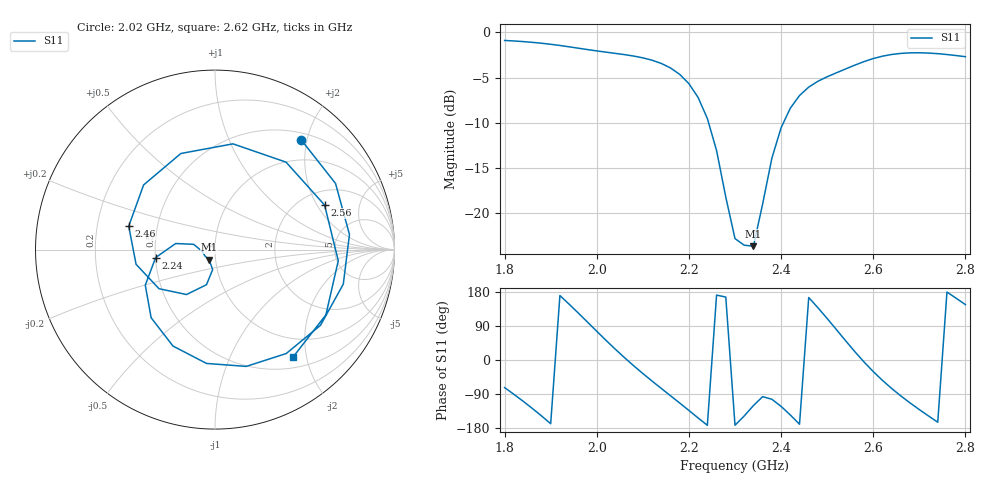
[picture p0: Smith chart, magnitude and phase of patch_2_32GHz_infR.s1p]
! Touchstone file exported from HFSS 2024.1.0
!  File:  /home/ubuntu/Ansoft/repo/patch_2_32GHz/sim_2_32GHz_3.aedt
!  Generated:  08:28:34 AM Nov 11, 2024
!  Design:  HFSSDesign1
!  Project:  sim_2_32GHz_3
!  Setup:  Setup1
!  Solution:  Sweep
! Variables:
!  R0 = 1000000ohm
!  pad = 45mm
# GHz S MA R 50.000000
! Terminal data exported
! Port[1] = u141_0711_201_1_pin_T1
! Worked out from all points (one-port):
!   51 points, 1.8 GHz to 2.8 GHz, reference 50 ohm
!   lowest |S11| = -23.7 dB at 2.34 GHz (marker M1), VSWR 1.14, Z = 46.5 - j5.28 ohm
!   |S11| at or under -10 dB: 2.243 GHz to 2.405 GHz (162.6 MHz wide, 7 % of centre)
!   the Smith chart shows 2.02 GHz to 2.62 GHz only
!   S11 on the Smith chart (normalised r, x): 2.02 GHz: 0.61, +1.90; 2.24 GHz: 0.50, -0.05; 2.46 GHz: 0.34, +0.12; 2.56 GHz: 2.65, +2.33; 2.62 GHz: 0.67, -1.77
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1.8  0.9031 -72.8
1.84  0.8902 -108.7
1.88  0.8718 -147.4
1.92  0.847 170.1
1.94  0.8329 147.3
1.98  0.8039 99.9
2.02  0.7779 51.9
2.06  0.7539 6.4
2.08  0.7402 -15.1
2.12  0.702 -55.6
2.14  0.6736 -75.0
2.18  0.586 -113.6
2.22  0.4361 -152.9
2.24  0.3338 -172.3
2.3  0.0721 -172.2
2.34  0.06546 -120.2
2.4  0.2963 -122.3
2.44  0.4473 -169.4
2.46  0.4981 164.8
2.48  0.5367 137.8
2.52  0.5976 80.3
2.56  0.6591 22.1
2.58  0.6896 -5.2
2.62  0.7391 -53.8
2.64  0.7553 -75.1
2.68  0.771 -113.3
2.74  0.763 -164.2
2.8  0.734 146.2
